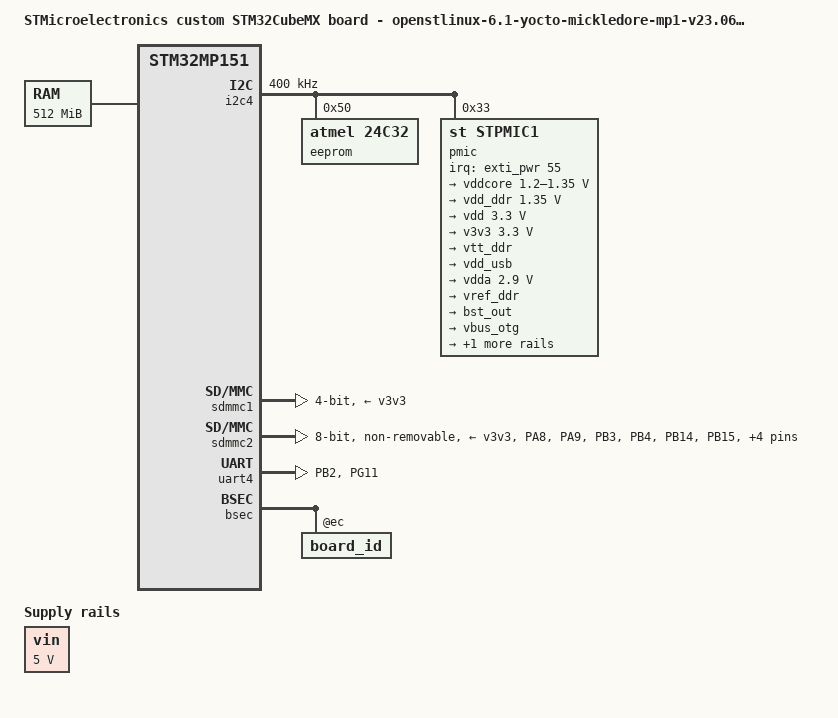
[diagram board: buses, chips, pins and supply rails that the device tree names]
// SPDX-License-Identifier: (GPL-2.0-or-later OR BSD-3-Clause)
/*
 * Copyright (C) 2023, STMicroelectronics - All Rights Reserved
 * Author: STM32CubeMX code generation for STMicroelectronics.
 */

/* For more information on Device Tree configuration, please refer to
 * https://wiki.st.com/stm32mpu/wiki/Category:Device_tree_configuration
 */

/dts-v1/;
#include <dt-bindings/pinctrl/stm32-pinfunc.h>
#include <dt-bindings/clock/stm32mp1-clksrc.h> // redirects to stm32mp15-cksrc.h
#include "stm32mp15-mx.dtsi"

#include "stm32mp151.dtsi"
//#include "stm32mp15xa.dtsi" // has been made empty in st version of tf-a src
#include "stm32mp15-pinctrl.dtsi"
#include "stm32mp15xxac-pinctrl.dtsi"
#include "stm32mp15-ddr.dtsi"

#include <dt-bindings/mfd/st,stpmic1.h>

/ {
	model = "STMicroelectronics custom STM32CubeMX board - openstlinux-6.1-yocto-mickledore-mp1-v23.06.21";
	compatible = "st,stm32mp151a-tios-mx", "st,stm32mp151";

	memory@c0000000 {
		device_type = "memory";
		reg = <0xc0000000 0x20000000>;
	};

	aliases {		
		serial0 = &uart4;
	};
	chosen {
		stdout-path = "serial0:115200n8";
	};
	vin: vin {
		compatible = "regulator-fixed";
		regulator-name = "vin";
		regulator-min-microvolt = <5000000>;
		regulator-max-microvolt = <5000000>;
		regulator-always-on;
    	};

	/* USER CODE END root */
	clocks {

		clk_hsi: clk-hsi {
			clock-frequency = <64000000>;
		};
		clk_lse: clk-lse {
			clock-frequency = <32768>;
		};
		clk_hse: clk-hse {
			clock-frequency = <24000000>;
			st,digbypass;
		};
	};

}; /*root*/

&pinctrl {
	sdmmc2_pins_mx: sdmmc2_mx-0 {
		pins1 {
			pinmux = <STM32_PINMUX('A', 8, AF9)>,  /* SDMMC2_D4 */
					 <STM32_PINMUX('A', 9, AF10)>, /* SDMMC2_D5 */
					 <STM32_PINMUX('B', 3, AF9)>,  /* SDMMC2_D2 */
					 <STM32_PINMUX('B', 4, AF9)>,  /* SDMMC2_D3 */
					 <STM32_PINMUX('B', 14, AF9)>, /* SDMMC2_D0 */
					 <STM32_PINMUX('B', 15, AF9)>, /* SDMMC2_D1 */
					 <STM32_PINMUX('D', 3, AF9)>,  /* SDMMC2_D7 */
					 <STM32_PINMUX('E', 5, AF9)>,  /* SDMMC2_D6 */
					 <STM32_PINMUX('G', 6, AF10)>; /* SDMMC2_CMD */
			bias-disable;
			drive-push-pull;
			slew-rate = <1>;
		};
		pins2 {
			pinmux = <STM32_PINMUX('E', 3, AF9)>; /* SDMMC2_CK */
			bias-disable;
			drive-push-pull;
			slew-rate = <3>;
		};
	};

	uart4_pins_mx: uart4_mx-0 {
		pins1 {
			pinmux = <STM32_PINMUX('B', 2, AF8)>; /* UART4_RX */
			bias-disable;
		};
		pins2 {
			pinmux = <STM32_PINMUX('G', 11, AF6)>; /* UART4_TX */
			bias-disable;
			drive-push-pull;
			slew-rate = <0>;
		};
	};
};

&pinctrl_z {
	i2c4_pins_z_mx: i2c4_mx-0 {
		pins {
			pinmux = <STM32_PINMUX('Z', 4, AF6)>, /* I2C4_SCL */
					 <STM32_PINMUX('Z', 5, AF6)>; /* I2C4_SDA */
			bias-disable;
			drive-open-drain;
			slew-rate = <0>;
		};
	};
};

&i2c4{
	pinctrl-names = "default";
	pinctrl-0 = <&i2c4_pins_z_mx>;
	i2c-scl-rising-time-ns = <185>;
	i2c-scl-falling-time-ns = <20>;
	clock-frequency = <400000>;
	status = "okay";
	/* spare dmas for other usage */
	/delete-property/dmas;
	/delete-property/dma-names;
	
	eeprom@50 {
		compatible = "atmel,24c32";
		reg = <0x50>;
		pagesize = <32>;
	};

	pmic: stpmic@33 {
		compatible = "st,stpmic1";
		reg = <0x33>;
		interrupts-extended = <&exti_pwr 55 IRQ_TYPE_EDGE_FALLING>;
		interrupt-controller;
		#interrupt-cells = <2>;
		status = "okay";
		
		regulators {
			compatible = "st,stpmic1-regulators";
			buck1-supply = <&vin>;
			buck2-supply = <&vin>;
			buck3-supply = <&vin>;
			buck4-supply = <&vin>;
			ldo3-supply = <&vdd_ddr>;
			ldo4-supply = <&vin>;
			ldo5-supply = <&vin>;
			boost-supply = <&vin>;
			pwr_sw1-supply = <&bst_out>;
			pwr_sw2-supply = <&bst_out>;

			vddcore: buck1 {
				regulator-name = "vddcore";
				regulator-min-microvolt = <1200000>;
				regulator-max-microvolt = <1350000>;
				regulator-always-on;
				regulator-initial-mode = <0>;
				regulator-over-current-protection;
			};

			vdd_ddr: buck2 {
				regulator-name = "vdd_ddr";
				regulator-min-microvolt = <1350000>;
				regulator-max-microvolt = <1350000>;
				regulator-always-on;
				regulator-initial-mode = <0>;
				regulator-over-current-protection;
			};

			vdd: buck3 {
				regulator-name = "vdd";
				regulator-min-microvolt = <3300000>;
				regulator-max-microvolt = <3300000>;
				regulator-always-on;
				st,mask-reset;
				regulator-initial-mode = <0>;
				regulator-over-current-protection;
			};

			v3v3: buck4 {
				regulator-name = "v3v3";
				regulator-min-microvolt = <3300000>;
				regulator-max-microvolt = <3300000>;
				regulator-always-on;
				regulator-over-current-protection;
				regulator-initial-mode = <0>;
			};

			vtt_ddr: ldo3 {
				regulator-name = "vtt_ddr";
				regulator-always-on;
				regulator-over-current-protection;
				st,regulator-sink-source;
			};
			vdd_usb: ldo4 {
				regulator-name = "vdd_usb";
				interrupts = <IT_CURLIM_LDO4 0>;
			};
			vdda: ldo5 {
				regulator-name = "vdda";
				regulator-min-microvolt = <2900000>;
				regulator-max-microvolt = <2900000>;
				interrupts = <IT_CURLIM_LDO5 0>;
				regulator-boot-on;
			};
			vref_ddr: vref_ddr {
				regulator-name = "vref_ddr";
				regulator-always-on;
			};
			bst_out: boost {
				regulator-name = "bst_out";
				interrupts = <IT_OCP_BOOST 0>;
			 };

			vbus_otg: pwr_sw1 {
				regulator-name = "vbus_otg";
				interrupts = <IT_OCP_OTG 0>;
			 };

			 vbus_sw: pwr_sw2 {
				regulator-name = "vbus_sw";
				interrupts = <IT_OCP_SWOUT 0>;
				regulator-active-discharge = <1>;
			 };	
		};
		onkey {
			compatible = "st,stpmic1-onkey";
			interrupts = <IT_PONKEY_F 0>, <IT_PONKEY_R 0>;
			interrupt-names = "onkey-falling", "onkey-rising";
			power-off-time-sec = <10>;
			status = "disabled";
		};

		watchdog {
			compatible = "st,stpmic1-wdt";
			status = "disabled";
		};
	};
};

&rcc{
	status = "okay";

	st,clksrc = <
		CLK_CKPER_DISABLED
		CLK_SDMMC12_PLL3R
		CLK_STGEN_HSI
		CLK_I2C46_HSI
		CLK_UART24_HSI
		CLK_MPU_PLL1P
		CLK_AXI_PLL2P
		CLK_MCU_PLL3P
	>;
	st,clkdiv = <
		DIV(DIV_MPU, 1)
		DIV(DIV_AXI, 0)
		DIV(DIV_MCU, 0)
		DIV(DIV_APB1, 1)
		DIV(DIV_APB2, 1)
		DIV(DIV_APB3, 1)
		DIV(DIV_APB4, 1)
		DIV(DIV_APB5, 2)
		DIV(DIV_RTC, 0)
		DIV(DIV_MCO1, 0)
		DIV(DIV_MCO2, 0)
	>;
	st,pll_vco {
		pll1_vco_1300Mhz: pll1-vco-1300Mhz {
			src = < CLK_PLL12_HSE >;
			divmn = < 2 80 >;
			frac = < 0x800 >;
		};
		pll2_vco_1066Mhz: pll2-vco-1066Mhz {
			src = < CLK_PLL12_HSE >;
			divmn = < 2 65 >;
			frac = < 0x1400 >;
		};
		pll3_vco_600Mhz: pll3-vco-600Mhz {
			src = < CLK_PLL3_HSE >;
			divmn = < 1 49 >;
		};
	};

	pll1:st,pll@0 {
		compatible = "st,stm32mp1-pll";
		reg = <0>;

		st,pll = < &pll1_cfg1 >;

		pll1_cfg1: pll1_cfg1 {
			st,pll_vco = < &pll1_vco_1300Mhz >;
			st,pll_div_pqr = < 0 1 1 >;
		};
	};

	pll2:st,pll@1 {
		compatible = "st,stm32mp1-pll";
		reg = <1>;

		st,pll = < &pll2_cfg1 >;

		pll2_cfg1: pll2_cfg1 {
			st,pll_vco = < &pll2_vco_1066Mhz >;
			st,pll_div_pqr = < 1 1 0 >;
		};
	};

	pll3:st,pll@2 {
		compatible = "st,stm32mp1-pll";
		reg = <2>;

		st,pll = < &pll3_cfg1 >;

		pll3_cfg1: pll3_cfg1 {
			st,pll_vco = < &pll3_vco_600Mhz >;
			st,pll_div_pqr = < 2 1 2 >;
		};
	};

};

&sdmmc1{
	pinctrl-names = "default";
	pinctrl-0 = <&sdmmc1_pins_mx>;
	status = "okay";

	/* USER CODE BEGIN sdmmc1 */
	disable-wp;
	st,neg-edge;
	bus-width = <4>;
	vmmc-supply = <&v3v3>;
	/* USER CODE END sdmmc1 */
};

&sdmmc2{
	pinctrl-names = "default";
	pinctrl-0 = <&sdmmc2_pins_mx>;
	status = "okay";

	/* USER CODE BEGIN sdmmc2 */
	non-removable;
	no-sd;
	no-sdio;
	st,neg-edge;
	bus-width = <8>;
	vmmc-supply = <&v3v3>;
	vqmmc-supply = <&v3v3>;
	mmc-ddr-3_3v;
	/* USER CODE END sdmmc2 */
};

&uart4{
	pinctrl-names = "default";
	pinctrl-0 = <&uart4_pins_mx>;
	status = "okay";
};

&pwr_regulators {
	vdd-supply = <&vdd>;
	vdd_3v3_usbfs-supply = <&vdd_usb>;
};
&bsec {
	board_id: board_id@ec {
		reg = <0xec 0x4>;
		st,non-secure-otp;
	};
};

